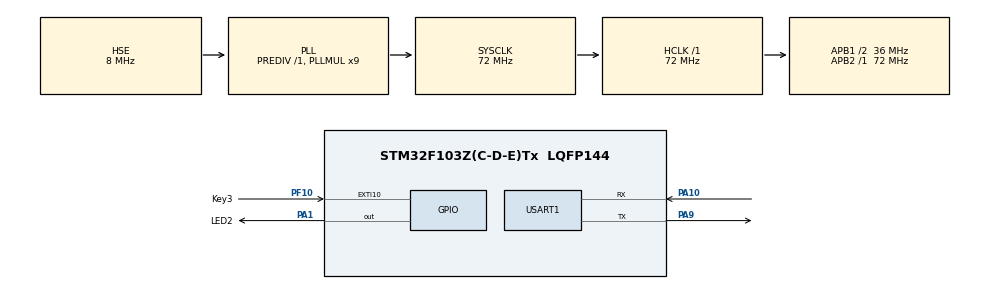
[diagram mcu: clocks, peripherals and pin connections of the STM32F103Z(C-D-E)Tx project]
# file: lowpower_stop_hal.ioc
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Mcu.Family=STM32F1
Mcu.Name=STM32F103Z(C-D-E)Tx
Mcu.Package=LQFP144
NVIC.PriorityGroup=NVIC_PRIORITYGROUP_4
OSC_IN.Mode=HSE-External-Oscillator
OSC_IN.Signal=RCC_OSC_IN
OSC_OUT.Mode=HSE-External-Oscillator
OSC_OUT.Signal=RCC_OSC_OUT
PA1.GPIO_Label=LED2
PA1.Signal=GPIO_Output
PA10.Mode=Asynchronous
PA10.Signal=USART1_RX
PA13.Mode=Serial_Wire
PA13.Signal=SYS_JTMS-SWDIO
PA14.Mode=Serial_Wire
PA14.Signal=SYS_JTCK-SWCLK
PA9.Mode=Asynchronous
PA9.Signal=USART1_TX
PC14-OSC32_IN.Mode=LSE-External-Oscillator
PC14-OSC32_IN.Signal=RCC_OSC32_IN
PC15-OSC32_OUT.Mode=LSE-External-Oscillator
PC15-OSC32_OUT.Signal=RCC_OSC32_OUT
PF10.GPIO_Label=Key3
PF10.GPIO_PuPd=GPIO_PULLDOWN
PF10.Signal=GPXTI10
ProjectManager.HeapSize=0x200
ProjectManager.StackSize=0x400
ProjectManager.TargetToolchain=MDK-ARM V5.32
RCC.AHBFreq_Value=72000000
RCC.APB1CLKDivider=RCC_HCLK_DIV2
RCC.APB1Freq_Value=36000000
RCC.APB1TimFreq_Value=72000000
RCC.APB2Freq_Value=72000000
RCC.APB2TimFreq_Value=72000000
RCC.HCLKFreq_Value=72000000
RCC.PLLMUL=RCC_PLL_MUL9
RCC.PLLSourceVirtual=RCC_PLLSOURCE_HSE
RCC.SYSCLKFreq_VALUE=72000000
RCC.SYSCLKSource=RCC_SYSCLKSOURCE_PLLCLK
RCC.USBFreq_Value=72000000
USART1.VirtualMode=VM_ASYNC
board=custom

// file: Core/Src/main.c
/* USER CODE BEGIN Header */
/**
  ******************************************************************************
  * @file           : main.c
  * @brief          : Main program body
  ******************************************************************************
  * @attention
  *
  * Copyright (c) 2026 STMicroelectronics.
  * All rights reserved.
  *
  * This software is licensed under terms that can be found in the LICENSE file
  * in the root directory of this software component.
  * If no LICENSE file comes with this software, it is provided AS-IS.
  *
  ******************************************************************************
  */
/* USER CODE END Header */
#include "main.h"
#include "usart.h"
#include "gpio.h"

/* USER CODE BEGIN Includes */
#include <stdio.h>
/* USER CODE END Includes */

/* USER CODE BEGIN PV */
int ch = 0;
/* USER CODE END PV */

void SystemClock_Config(void);

/* USER CODE BEGIN 0 */
int fputc(int ch, FILE *f){
  HAL_UART_Transmit(&huart1, (uint8_t *)&ch, 1, 0xFFFF);
  return ch;
}

/* USER CODE END 0 */

int main(void)
{

  /* MCU Configuration--------------------------------------------------------*/

  /* Reset of all peripherals, Initializes the Flash interface and the Systick. */
  HAL_Init();

  /* Configure the system clock */
  SystemClock_Config();

  /* Initialize all configured peripherals */
  MX_GPIO_Init();
  MX_USART1_UART_Init();
  /* USER CODE BEGIN 2 */
  printf("低功耗-停止模式-HAL版本...\n");
  printf("3秒之后进入停止模式\n");
  HAL_Delay(3000);
  printf("停止模式已进入\n");
  //电压调节器有两种工作模式：1.正常模式 2.低功耗模式
  //当进入停止模式时，电压调节器可以设置为正常模式或者低功耗模式运行
  //如果设置为低功耗模式，那么当唤醒时，首先需要先将电压调节器恢复成正常工作模式
  HAL_PWR_EnterSTOPMode(PWR_MAINREGULATOR_ON,PWR_STOPENTRY_WFI);

  SystemClock_Config();

  printf("从停止模式唤醒\n");

  /* USER CODE END 2 */

  /* Infinite loop */
  /* USER CODE BEGIN WHILE */
  while (1)
  {

  printf("3秒之后进入睡眠模式\n");
  HAL_Delay(3000);
  printf("睡眠模式已进入\n");

  //挂起systick定时器
  HAL_SuspendTick();
  //HAL_PWR_EnableSleepOnExit();置1
  //HAL_PWR_DisableSleepOnExit();置0
  HAL_PWR_EnterSLEEPMode(0,PWR_SLEEPENTRY_WFI);
  //恢复systick定时器
  HAL_ResumeTick();
  printf("睡眠模式已退出\n");

  HAL_GPIO_TogglePin(LED2_GPIO_Port, LED2_Pin);

    /* USER CODE END WHILE */

  }
}

void SystemClock_Config(void)
{
  RCC_OscInitTypeDef RCC_OscInitStruct = {0};
  RCC_ClkInitTypeDef RCC_ClkInitStruct = {0};

  /** Initializes the RCC Oscillators according to the specified parameters
  * in the RCC_OscInitTypeDef structure.
  */
  RCC_OscInitStruct.OscillatorType = RCC_OSCILLATORTYPE_HSE;
  RCC_OscInitStruct.HSEState = RCC_HSE_ON;
  RCC_OscInitStruct.HSEPredivValue = RCC_HSE_PREDIV_DIV1;
  RCC_OscInitStruct.HSIState = RCC_HSI_ON;
  RCC_OscInitStruct.PLL.PLLState = RCC_PLL_ON;
  RCC_OscInitStruct.PLL.PLLSource = RCC_PLLSOURCE_HSE;
  RCC_OscInitStruct.PLL.PLLMUL = RCC_PLL_MUL9;
  if (HAL_RCC_OscConfig(&RCC_OscInitStruct) != HAL_OK)
  {
    Error_Handler();
  }

  /** Initializes the CPU, AHB and APB buses clocks
  */
  RCC_ClkInitStruct.ClockType = RCC_CLOCKTYPE_HCLK|RCC_CLOCKTYPE_SYSCLK
                              |RCC_CLOCKTYPE_PCLK1|RCC_CLOCKTYPE_PCLK2;
  RCC_ClkInitStruct.SYSCLKSource = RCC_SYSCLKSOURCE_PLLCLK;
  RCC_ClkInitStruct.AHBCLKDivider = RCC_SYSCLK_DIV1;
  RCC_ClkInitStruct.APB1CLKDivider = RCC_HCLK_DIV2;
  RCC_ClkInitStruct.APB2CLKDivider = RCC_HCLK_DIV1;

  if (HAL_RCC_ClockConfig(&RCC_ClkInitStruct, FLASH_LATENCY_2) != HAL_OK)
  {
    Error_Handler();
  }
}

void Error_Handler(void)
{
  __disable_irq();
  while (1)
  {
  }
}
